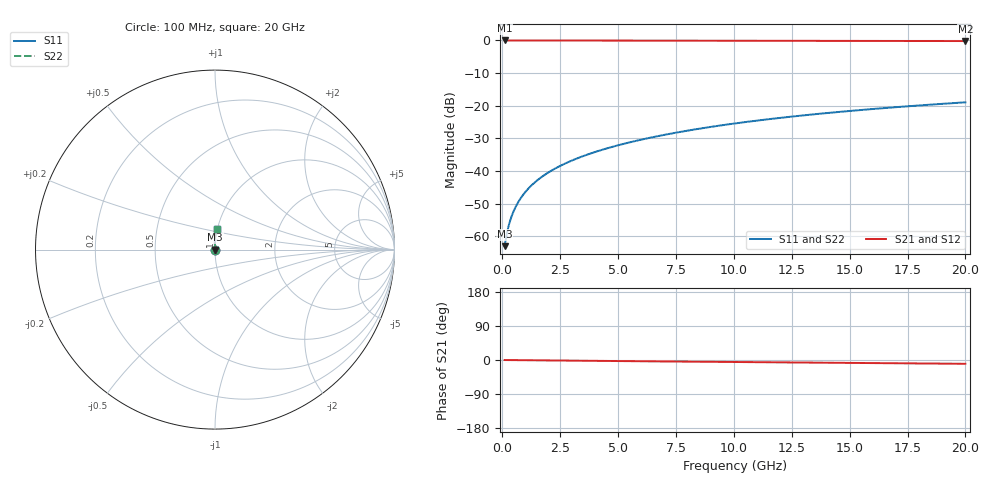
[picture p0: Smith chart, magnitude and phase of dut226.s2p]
! Touchstone file exported from HFSS 2024.1.0
!  File:  C:/UserFiles/LocalFiles/RDL_TSV_Batchsim/temp_RDL_bottom_226_1778700641.aedt
!  Generated:  03:32:55 AM May 14, 2026
!  Design:  RDL_bottom
!  Project:  temp_RDL_bottom_226_1778700641
!  Setup:  Setup1
!  Solution:  Sweep
! Variables:
!  dtsv = 10.80580581um
!  hbump = 3um
!  htsv = 86.11um
!  ldown = 110.44um
!  lrdl = 100um
!  p = 40
!  p1 = 55.13um
!  rhole = 1um
!  t = 450um
!  tdown = 4.86um
!  trdl = 3.915915916um
!  wdown = 26.24um
!  wrdl = 20um
# GHz S MA R 50.000000
! Terminal data exported
! Port[1] = RDL1_T1
! Port[2] = RDL1_T2
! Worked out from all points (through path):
!   200 points, 100 MHz to 20 GHz, reference 50 ohm
!   highest |S21| = 0.00 dB at 100 MHz (marker M1); lowest = -0.2 dB at 20 GHz (marker M2)
!   group delay of S21, straight-line fit = 1.37 ps
!   lowest |S11| = -63.1 dB at 100 MHz (marker M3), VSWR 1.00, Z = 50 + j0.0515 ohm
!   |S11| at or under -10 dB: start of sweep to end of sweep
!   |S22| runs from -63.1 to -19.0 dB; largest |S21 - S12| = 3e-15
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0.1  0.0007025 47.0  0.9995 -0.1  0.9995 -0.1  0.0007025 47.0
! Gamma 0 0 0 0
! Port Impedance 50 0 50 0
0.2  0.001123 63.1  0.9995 -0.1  0.9995 -0.1  0.001123 63.1
0.3  0.001563 70.2  0.9994 -0.2  0.9994 -0.2  0.001563 70.2
0.4  0.00201 74.5  0.9994 -0.2  0.9994 -0.2  0.00201 74.5
0.5  0.002463 77.3  0.9994 -0.3  0.9994 -0.3  0.002463 77.3
0.6  0.002919 79.4  0.9993 -0.4  0.9993 -0.4  0.002919 79.4
0.8  0.003843 82.2  0.9993 -0.5  0.9993 -0.5  0.003843 82.2
1.1  0.005244 84.7  0.9991 -0.6  0.9991 -0.6  0.005244 84.7
1.5  0.007132 86.7  0.9989 -0.9  0.9989 -0.9  0.007132 86.7
1.8  0.008563 87.7  0.9987 -1.0  0.9987 -1.0  0.008563 87.7
2.1  0.01 88.4  0.9985 -1.2  0.9985 -1.2  0.01 88.4
2.7  0.01293 89.6  0.998 -1.6  0.998 -1.6  0.01293 89.6
3.5  0.01692 90.7  0.9971 -2.0  0.9971 -2.0  0.01692 90.7
4.2  0.02051 91.3  0.9963 -2.4  0.9963 -2.4  0.02051 91.3
5  0.02472 91.8  0.9953 -2.8  0.9953 -2.8  0.02472 91.8
5.9  0.0296 92.1  0.9941 -3.3  0.9941 -3.3  0.0296 92.1
6.8  0.03461 92.1  0.9929 -3.7  0.9929 -3.7  0.03461 92.1
8.4  0.04377 91.8  0.9909 -4.5  0.9909 -4.5  0.04377 91.8
10.1  0.05375 91.1  0.9888 -5.4  0.9888 -5.4  0.05375 91.1
13.4  0.07343 89.3  0.9851 -6.9  0.9851 -6.9  0.07343 89.3
16.7  0.09313 87.2  0.9817 -8.5  0.9817 -8.5  0.09313 87.2
20  0.1126 85.1  0.9783 -10.0  0.9783 -10.0  0.1126 85.1
